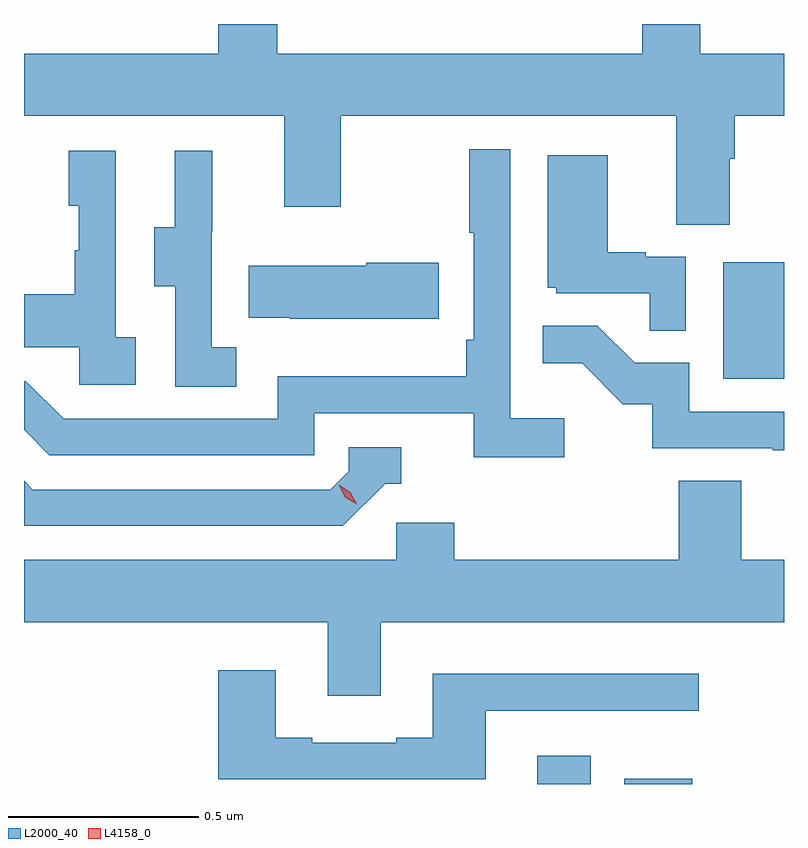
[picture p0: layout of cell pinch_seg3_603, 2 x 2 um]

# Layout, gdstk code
import gdstk
lib = gdstk.Library(unit=1e-6, precision=1e-09)
def R(c, l, rs):  # rectangles x0, y0, x1, y1
    for r in rs: c.add(gdstk.rectangle(r[:2], r[2:], *l))
def P(c, l, *ps):  # polygons
    for p in ps: c.add(gdstk.Polygon(p, *l))
L2000_40 = (2000, 40)
L4158_0 = (4158, 0)

pinch_seg3_603 = lib.new_cell('pinch_seg3_603')
R(pinch_seg3_603, L2000_40, [(1059.311,697.826,1059.451,697.9), (1059.539,697.826,1059.718,697.84), (1059.8,698.892,1059.96,699.199)])
P(pinch_seg3_603, L2000_40, [(1059.817,699.472),(1059.83,699.472),(1059.83,699.584),(1059.96,699.584),(1059.96,699.748),(1059.74,699.748),(1059.74,699.826),(1059.587,699.826),(1059.587,699.748),(1058.627,699.748),(1058.627,699.826),(1058.471,699.826),(1058.471,699.748),(1057.96,699.748),(1057.96,699.584),(1058.645,699.584),(1058.645,699.345),(1058.793,699.345),(1058.793,699.584),(1059.677,699.584),(1059.677,699.298),(1059.817,699.298)],
  [(1059.382,698.788),(1059.24,698.788),(1059.24,699.496),(1059.132,699.496),(1059.132,699.277),(1059.144,699.277),(1059.144,698.995),(1059.124,698.995),(1059.124,698.899),(1058.628,698.899),(1058.628,698.787),(1058.064,698.787),(1057.965,698.886),(1057.96,698.886),(1057.96,698.758),(1058.027,698.691),(1058.724,698.691),(1058.724,698.802),(1059.143,698.802),(1059.143,698.686),(1059.382,698.686)],
  [(1058.518,698.975),(1058.454,698.975),(1058.454,699.279),(1058.456,699.279),(1058.456,699.493),(1058.357,699.493),(1058.357,699.291),(1058.303,699.291),(1058.303,699.136),(1058.358,699.136),(1058.358,698.872),(1058.518,698.872)],
  [(1058.254,699.002),(1058.202,699.002),(1058.202,699.493),(1058.078,699.493),(1058.078,699.348),(1058.104,699.348),(1058.104,699.23),(1058.094,699.23),(1058.094,699.115),(1057.96,699.115),(1057.96,698.975),(1058.106,698.975),(1058.106,698.877),(1058.254,698.877)],
  [(1059.702,699.213),(1059.596,699.213),(1059.596,699.226),(1059.496,699.226),(1059.496,699.481),(1059.338,699.481),(1059.338,699.132),(1059.36,699.132),(1059.36,699.117),(1059.607,699.117),(1059.607,699.019),(1059.702,699.019)],
  [(1059.052,699.198),(1058.861,699.198),(1058.861,699.19),(1058.551,699.19),(1058.551,699.053),(1058.659,699.053),(1058.659,699.05),(1059.052,699.05)],
  [(1059.96,698.805),(1059.711,698.805),(1059.711,698.934),(1059.567,698.934),(1059.469,699.032),(1059.325,699.032),(1059.325,698.933),(1059.429,698.933),(1059.536,698.826),(1059.613,698.826),(1059.613,698.709),(1059.931,698.709),(1059.931,698.704),(1059.96,698.704)],
  [(1058.91,698.616),(1058.953,698.616),(1058.953,698.712),(1058.814,698.712),(1058.814,698.649),(1058.766,698.601),(1057.983,698.601),(1057.96,698.624),(1057.96,698.505),(1058.799,698.505)],
  [(1058.899,698.252),(1059.96,698.252),(1059.96,698.416),(1059.848,698.416),(1059.848,698.624),(1059.683,698.624),(1059.683,698.416),(1059.092,698.416),(1059.092,698.514),(1058.94,698.514),(1058.94,698.416),(1057.96,698.416),(1057.96,698.252),(1058.759,698.252),(1058.759,698.058),(1058.899,698.058)],
  [(1059.175,698.019),(1059.736,698.019),(1059.736,698.116),(1059.035,698.116),(1059.035,697.948),(1058.939,697.948),(1058.939,697.935),(1058.719,697.935),(1058.719,697.948),(1058.623,697.948),(1058.623,698.125),(1058.471,698.125),(1058.471,697.838),(1059.175,697.838)])
P(pinch_seg3_603, L4158_0, [(1058.836,698.562),(1058.805,698.581),(1058.788,698.613),(1058.788,698.613),(1058.788,698.613),(1058.819,698.594),(1058.836,698.562),(1058.836,698.562)])

lib.write_gds('pinch_seg3_603.gds')
